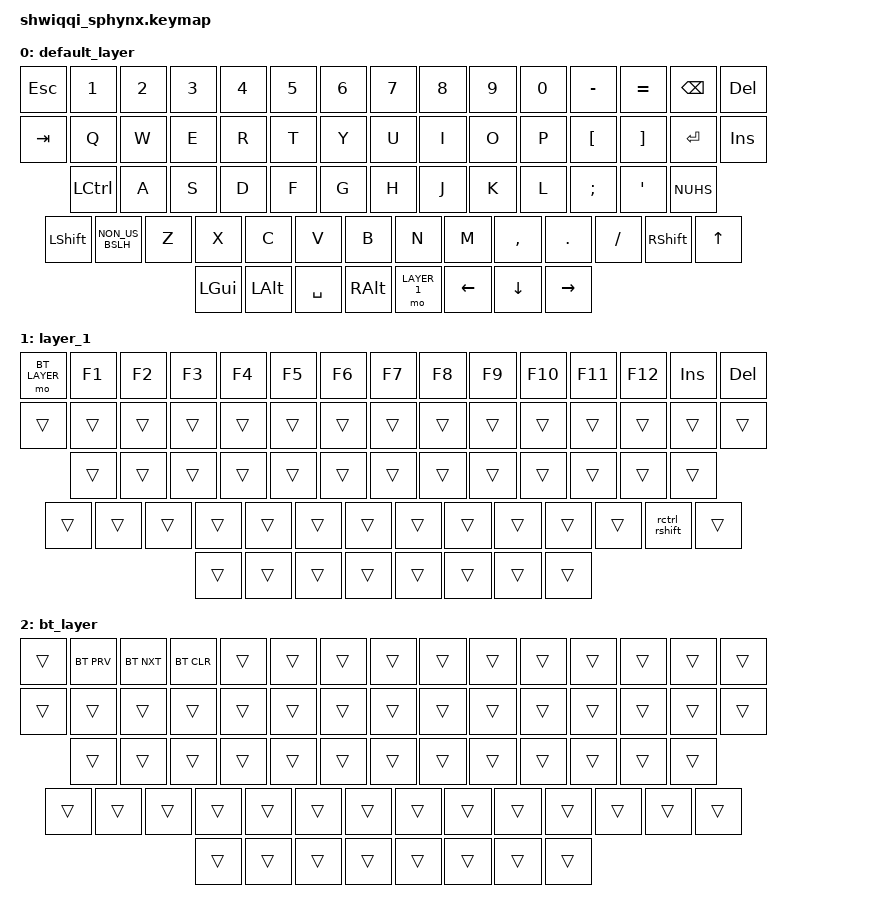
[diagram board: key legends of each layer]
#include <behaviors.dtsi>
#include <dt-bindings/zmk/keys.h>
#include <dt-bindings/zmk/bt.h>

#define DEFAULT 0
#define LAYER_1 1
#define BT_LAYER 2

/ {
    macros {
        rctrl_rshift: rctrl_rshift {
            compatible = "zmk,behavior-macro";
            #binding-cells = <0>;

            wait-ms = <10>;
            tap-ms = <10>;

            bindings 
                    = <&macro_press &kp RCTRL &kp RSHFT>
                    , <&macro_pause_for_release>
                    , <&macro_release &kp RCTRL &kp RSHFT>
                    ;
        };
    };

    keymap {
        compatible = "zmk,keymap";
        default_layer {
            // ----------------------------------------------------------------------------------------------------------------
            // | ESC |  1  |  2  |  3  |  4  |  5  |  6  |  7  |  8  |  9  |  0  |  -_ |  =+  |  Backspace  |  Delete  |
            // |   Tab  |  Q  |  W  |  E  |  R  |  T  |  Y  |  U  |  I  |  O  |  P  |  [{  |  ]}  |  Return |  Insert  |
            // |    Ctrl  |  A  |  S  |  D  |  F  |  G  |  H  |  J  |  K  |  L  |  ;:  |  @  |  ~# |        |
            // |  Shift | |\ |  Z  |  X  |  C  |  V  |  B  |  N  |  M  |  ,<  |  .>  |  /?  |   Shift   |   |    UP    |
            //         |  OS  |   ALT   |                 SPACE                 |    ALTGR    |  FN  |  LEFT |  DOWN  | RIGHT
            bindings = <
                &kp ESC &kp N1 &kp N2 &kp N3 &kp N4 &kp N5 &kp N6 &kp N7 &kp N8 &kp N9 &kp N0 &kp MINUS &kp EQUAL &kp BSPC &kp DEL
                &kp TAB &kp Q &kp W &kp E &kp R &kp T &kp Y &kp U &kp I &kp O &kp P &kp LBKT &kp RBKT &kp RET &kp INS
                &kp LCTRL &kp A &kp S &kp D &kp F &kp G &kp H &kp J &kp K &kp L &kp SEMI &kp SQT &kp NUHS
                &kp LSHFT &kp NON_US_BSLH &kp Z &kp X &kp C &kp V &kp B &kp N &kp M &kp COMMA &kp DOT &kp FSLH &kp RSHFT &kp UP
                &kp LGUI &kp LALT &kp SPACE &kp RALT &mo LAYER_1 &kp LEFT &kp DOWN &kp RIGHT
            >;
        };

        layer_1 {
            bindings = <
                &mo BT_LAYER &kp F1 &kp F2 &kp F3 &kp F4 &kp F5 &kp F6 &kp F7 &kp F8 &kp F9 &kp F10 &kp F11 &kp F12 &kp INS &kp DEL
                &trans &trans &trans &trans &trans &trans &trans &trans &trans &trans &trans &trans &trans &trans &trans
                &trans &trans &trans &trans &trans &trans &trans &trans &trans &trans &trans &trans &trans
                &trans &trans &trans &trans &trans &trans &trans &trans &trans &trans &trans &trans &rctrl_rshift &trans
                &trans &trans &trans &trans &trans &trans &trans &trans
            >;
        };

        bt_layer {
            bindings = <
                &trans &bt BT_PRV &bt BT_NXT &bt BT_CLR &trans &trans &trans &trans &trans &trans &trans &trans &trans &trans &trans
                &trans &trans &trans &trans &trans &trans &trans &trans &trans &trans &trans &trans &trans &trans &trans
                &trans &trans &trans &trans &trans &trans &trans &trans &trans &trans &trans &trans &trans
                &trans &trans &trans &trans &trans &trans &trans &trans &trans &trans &trans &trans &trans &trans
                &trans &trans &trans &trans &trans &trans &trans &trans
            >;
        };
    };
};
